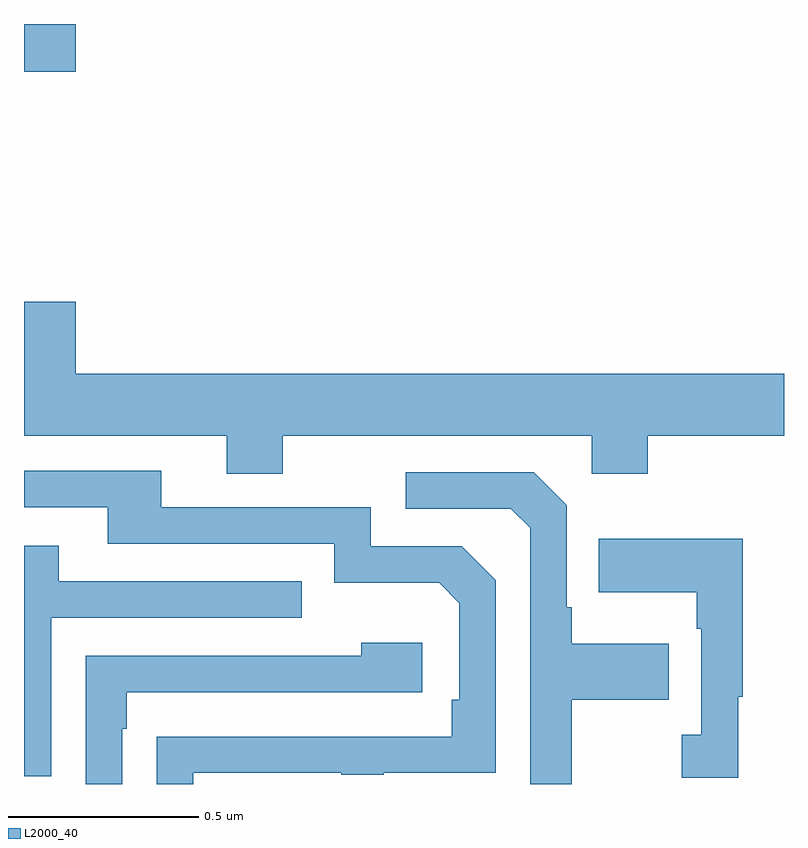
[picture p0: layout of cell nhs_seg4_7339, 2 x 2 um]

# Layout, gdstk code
import gdstk
lib = gdstk.Library(unit=1e-6, precision=1e-09)
def R(c, l, rs):  # rectangles x0, y0, x1, y1
    for r in rs: c.add(gdstk.rectangle(r[:2], r[2:], *l))
def P(c, l, *ps):  # polygons
    for p in ps: c.add(gdstk.Polygon(p, *l))
L2000_40 = (2000, 40)

nhs_seg4_7339 = lib.new_cell('nhs_seg4_7339')
R(nhs_seg4_7339, L2000_40, [(201,801.774,201.136,801.9)])
P(nhs_seg4_7339, L2000_40, [(201.681,800.816),(202.494,800.816),(202.494,800.717),(202.641,800.717),(202.641,800.816),(203,800.816),(203,800.98),(201.136,800.98),(201.136,801.169),(201,801.169),(201,800.816),(201.533,800.816),(201.533,800.717),(201.681,800.717)],
  [(201.445,799.929),(201.835,799.929),(201.835,799.924),(201.947,799.924),(201.947,799.929),(202.242,799.929),(202.242,800.436),(202.152,800.526),(201.912,800.526),(201.912,800.628),(201.361,800.628),(201.361,800.724),(201,800.724),(201,800.628),(201.221,800.628),(201.221,800.532),(201.816,800.532),(201.816,800.429),(202.093,800.429),(202.146,800.376),(202.146,800.122),(202.126,800.122),(202.126,800.025),(201.451,800.025),(201.451,800.024),(201.349,800.024),(201.349,799.9),(201.445,799.9)],
  [(202.441,800.122),(202.697,800.122),(202.697,800.269),(202.441,800.269),(202.441,800.365),(202.428,800.365),(202.428,800.634),(202.341,800.721),(202.005,800.721),(202.005,800.625),(202.281,800.625),(202.332,800.574),(202.332,799.9),(202.441,799.9)],
  [(202.879,800.129),(202.891,800.129),(202.891,800.545),(202.513,800.545),(202.513,800.405),(202.77,800.405),(202.77,800.309),(202.782,800.309),(202.782,800.03),(202.731,800.03),(202.731,799.917),(202.879,799.917)],
  [(201.072,800.337),(201.731,800.337),(201.731,800.433),(201.091,800.433),(201.091,800.527),(201,800.527),(201,799.921),(201.072,799.921)],
  [(201.258,800.045),(201.271,800.045),(201.271,800.142),(202.048,800.142),(202.048,800.272),(201.887,800.272),(201.887,800.238),(201.162,800.238),(201.162,799.9),(201.258,799.9)])

lib.write_gds('nhs_seg4_7339.gds')
